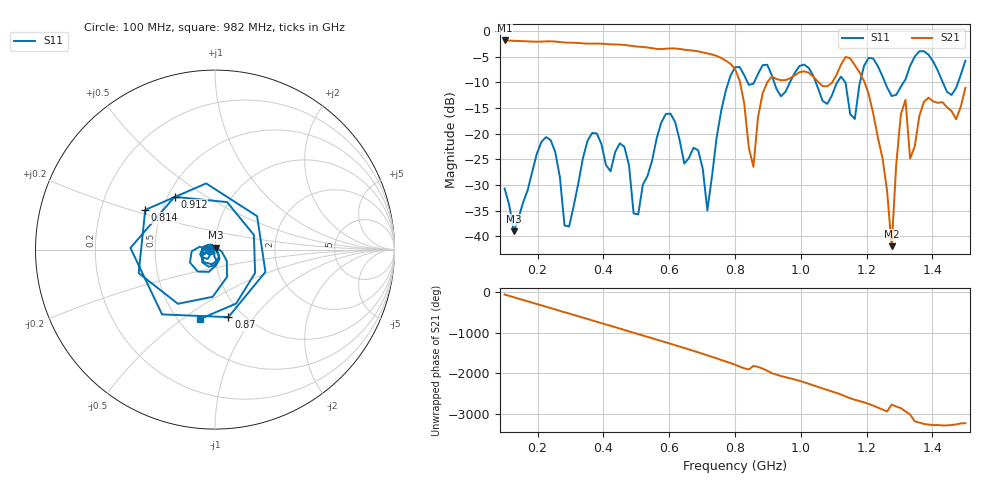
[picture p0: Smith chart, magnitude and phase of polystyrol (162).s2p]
! NanoVNA-App
! Date: 2025-09-25 15:31:09
! Start: 100MHz Stop: 1,5GHz Points: 101
! S-Parameter data: F S11 S21 S12 S22
# Hz S RI R 50
!  Frequency  S11_Real  S11_Imag  S21_Real  S21_Imag  S12_Real  S12_Imag  S22_Real  S22_Imag
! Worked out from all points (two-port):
!   101 points, 100 MHz to 1.5 GHz, reference 50 ohm
!   highest |S21| = -1.80 dB at 100 MHz (marker M1); lowest = -42.0 dB at 1.276 GHz (marker M2)
!   |S21| within 3 dB of the highest: start of sweep to 743.1 MHz
!   lowest |S11| = -39.1 dB at 128 MHz (marker M3), VSWR 1.02, Z = 50.3 + j1.07 ohm
!   |S11| at or under -10 dB: start of sweep to 779.8 MHz; 1.046 GHz to 1.11 GHz (64.83 MHz wide, 6.01 % of centre); 1.135 GHz to 1.18 GHz (44.28 MHz wide, 3.83 % of centre) (the widest 3 of 7)
!   S12 and S22 are empty: the file has one direction only
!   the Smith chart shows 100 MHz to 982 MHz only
!   S11 on the Smith chart (normalised r, x): 100 MHz: 0.94, -0.01; 814 MHz: 0.40, +0.22; 870 MHz: 0.85, -0.75; 912 MHz: 0.54, +0.37; 982 MHz: 0.64, -0.59
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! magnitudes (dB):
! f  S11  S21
! 100 MHz  -30.7  -1.8
! 128 MHz  -39.1  -1.9
! 212 MHz  -21.6  -2.0
! 282 MHz  -37.9  -2.2
! 338 MHz  -24.8  -2.4
! 464 MHz  -22.6  -2.7
! 506 MHz  -35.8  -3.0
! 576 MHz  -17.8  -3.5
! 716 MHz  -35.0  -4.3
! 800 MHz  -7.0  -7.4
! 814 MHz  -7.0  -9.6
! 856 MHz  -10.3  -26.5
! 870 MHz  -8.3  -16.7
! 912 MHz  -8.6  -8.8
! 982 MHz  -8.1  -8.6
! 1.038 GHz  -8.7  -8.9
! 1.164 GHz  -17.1  -6.6
! 1.192 GHz  -6.8  -9.7
! 1.276 GHz  -12.6  -42.0
! 1.318 GHz  -9.4  -13.4
! 1.332 GHz  -6.8  -24.9
! 1.5 GHz  -5.7  -11.1
